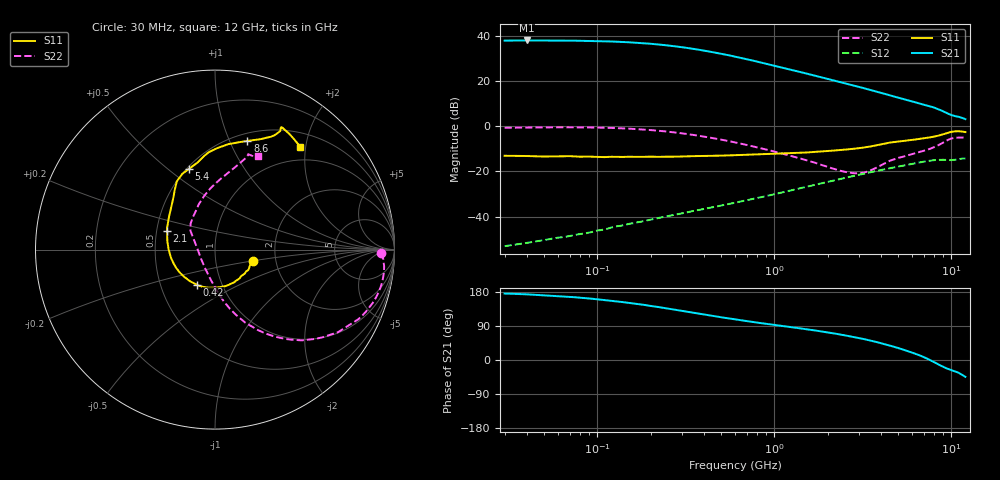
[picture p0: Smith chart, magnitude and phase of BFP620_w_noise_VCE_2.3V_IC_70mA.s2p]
! Infineon Technologies  Discrete & RF Semiconductors
! BFP620
! VCE =  2.3 V,  IC =  70 mA
! Common Emitter S-Parameters:  Nov 2015
# GHz  S  MA  R  50
!  f  S11  S21  S12  S22
! GHz  MAG  ANG  MAG  ANG  MAG  ANG  MAG  ANG
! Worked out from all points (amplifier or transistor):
!   239 points, 30 MHz to 12 GHz, reference 50 ohm
!   highest |S21| = 38.1 dB at 40 MHz (marker M1)
!   |S21| within 3 dB of that: start of sweep to 302 MHz
!   unconditionally stable (mu >= 1): 1.688 GHz to end of sweep
!   at 300 MHz: K = 0.55, MSG = 36.9 dB, |S12| = -38.6 dB
!   at 1.88 GHz: K = 1.01, MAG = 22.7 dB, |S12| = -25.1 dB
!   at 12 GHz: K = 1.09, MAG = 6.9 dB, |S12| = -14.3 dB
!   lowest NFmin = 1.85 dB at 450 MHz
!   S11 on the Smith chart (normalised r, x): 30 MHz: 1.53, -0.20; 420 MHz: 0.76, -0.31; 2.1 GHz: 0.57, +0.13; 5.4 GHz: 0.51, +0.59; 8.6 GHz: 0.58, +1.17; 12 GHz: 0.74, +1.90
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0.03  0.2222 -15.9  79.41 175.4  0.0022 102.6  0.9272 -1.1
0.04  0.2192 -20.9  79.89 173.3  0.0026 95.4  0.9398 -3.4
0.07  0.2178 -31.9  79.37 166.7  0.0037 86.2  0.9494 -10.3
0.085  0.212 -36.9  78.31 163.4  0.0042 84.4  0.9442 -13.5
0.11  0.2073 -46.2  76.67 158.2  0.0052 81.9  0.928 -18.6
0.14  0.209 -55.7  73.86 152.7  0.0064 79.5  0.8986 -24.2
0.175  0.2101 -66.1  70.02 147.0  0.0076 77.4  0.8543 -29.8
0.2  0.2119 -73.0  67.52 142.7  0.0085 76.3  0.8253 -33.9
0.24  0.211 -83.6  63 137.1  0.0099 75.2  0.7731 -39.2
0.3  0.2142 -97.4  56.76 129.5  0.0117 73.7  0.6994 -46.3
0.42  0.2204 -117.4  46.12 118.4  0.0153 72.2  0.5732 -56.6
0.5  0.2243 -128.0  40.48 112.6  0.0175 71.5  0.5061 -62.1
0.6  0.2293 -138.7  34.97 107.0  0.0202 71.0  0.439 -67.6
0.7  0.2344 -147.1  30.59 102.5  0.023 70.5  0.3842 -72.0
0.9  0.2425 -160.1  24.3 95.4  0.0284 69.5  0.3045 -79.2
1.2  0.2525 -174.2  18.5 87.6  0.0367 67.4  0.2276 -87.6
1.64  0.2679 171.3  13.67 78.9  0.0488 63.8  0.1615 -100.0
2.1  0.2864 158.8  10.72 71.3  0.0611 59.3  0.1184 -117.4
4.5  0.4359 119.2  4.867 37.8  0.1177 34.2  0.1725 142.5
5.4  0.4729 107.9  3.993 26.6  0.1353 25.0  0.2145 125.7
8.6  0.632 73.4  2.315 -13.5  0.1804 -10.0  0.3955 85.4
12  0.7441 50.2  1.439 -44.4  0.1927 -36.7  0.571 65.3
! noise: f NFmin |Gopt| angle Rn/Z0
0.45  1.85  0.39  -167  0.1
0.9  1.87  0.42  -156  0.11
1.9  1.88  0.44  -140  0.15
2.4  1.92  0.45  -137  0.16
3.5  1.99  0.48  -107  0.3
5.5  2.26  0.48  -85  0.45
10  2.54  0.69  -41  1.65
